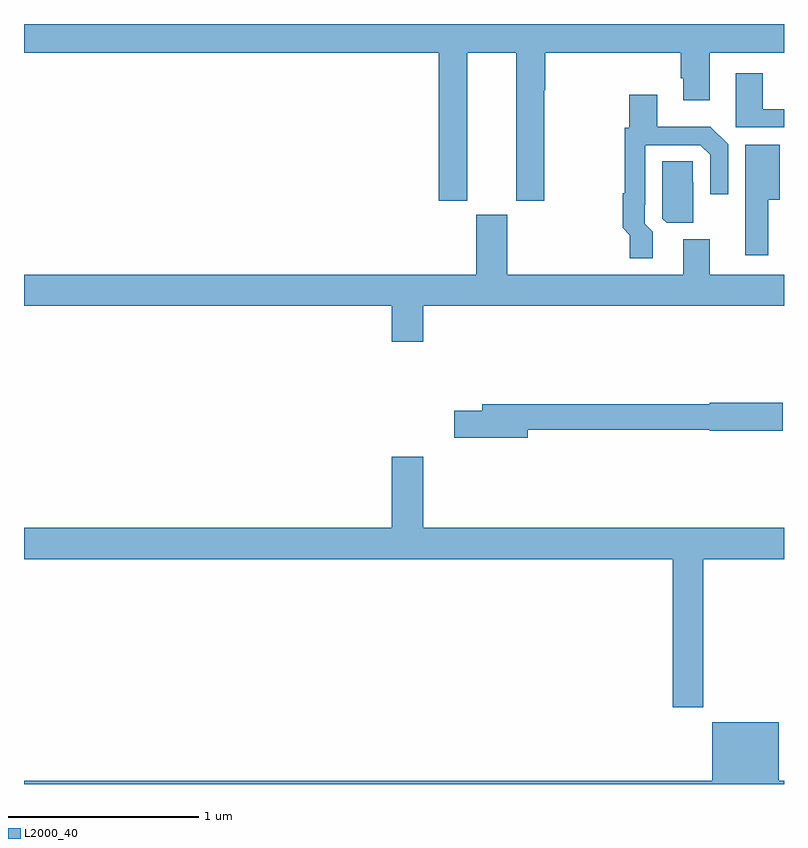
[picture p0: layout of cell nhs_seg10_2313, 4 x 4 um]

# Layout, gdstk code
import gdstk
lib = gdstk.Library(unit=1e-6, precision=1e-09)
def P(c, l, *ps):  # polygons
    for p in ps: c.add(gdstk.Polygon(p, *l))
L2000_40 = (2000, 40)

nhs_seg10_2313 = lib.new_cell('nhs_seg10_2313')
P(nhs_seg10_2313, L2000_40, [(237.334,1268.348),(237.59,1268.348),(237.59,1267.569),(237.738,1267.569),(237.738,1268.152),(237.743,1268.152),(237.743,1268.348),(238.457,1268.348),(238.457,1268.215),(238.469,1268.215),(238.469,1268.1),(238.609,1268.1),(238.609,1268.348),(239,1268.348),(239,1268.5),(235,1268.5),(235,1268.348),(237.182,1268.348),(237.182,1267.569),(237.334,1267.569)],
  [(239,1268.052),(238.888,1268.052),(238.888,1268.242),(238.745,1268.242),(238.745,1267.956),(239,1267.956)],
  [(238.309,1267.406),(238.266,1267.449),(238.266,1267.549),(238.269,1267.549),(238.269,1267.863),(238.56,1267.863),(238.611,1267.812),(238.611,1267.605),(238.707,1267.605),(238.707,1267.866),(238.613,1267.96),(238.333,1267.96),(238.333,1268.128),(238.186,1268.128),(238.186,1267.953),(238.161,1267.953),(238.161,1267.61),(238.151,1267.61),(238.151,1267.428),(238.189,1267.389),(238.189,1267.266),(238.309,1267.266)],
  [(238.918,1267.574),(238.978,1267.574),(238.978,1267.864),(238.796,1267.864),(238.796,1267.284),(238.918,1267.284)],
  [(238.522,1267.667),(238.521,1267.667),(238.521,1267.778),(238.359,1267.778),(238.359,1267.476),(238.383,1267.453),(238.522,1267.453)],
  [(237.1,1267.016),(239,1267.016),(239,1267.18),(238.609,1267.18),(238.609,1267.368),(238.469,1267.368),(238.469,1267.18),(237.544,1267.18),(237.544,1267.497),(237.38,1267.497),(237.38,1267.18),(235,1267.18),(235,1267.016),(236.936,1267.016),(236.936,1266.828),(237.1,1266.828)],
  [(237.652,1266.364),(238.608,1266.364),(238.608,1266.359),(238.993,1266.359),(238.993,1266.506),(238.608,1266.506),(238.608,1266.5),(237.413,1266.5),(237.413,1266.464),(237.264,1266.464),(237.264,1266.322),(237.652,1266.322)],
  [(238.575,1265.684),(239,1265.684),(239,1265.848),(237.1,1265.848),(237.1,1266.223),(236.936,1266.223),(236.936,1265.848),(235,1265.848),(235,1265.684),(238.415,1265.684),(238.415,1264.905),(238.575,1264.905)],
  [(239,1264.516),(238.972,1264.516),(238.972,1264.825),(238.622,1264.825),(238.622,1264.516),(235,1264.516),(235,1264.5),(239,1264.5)])

lib.write_gds('nhs_seg10_2313.gds')
